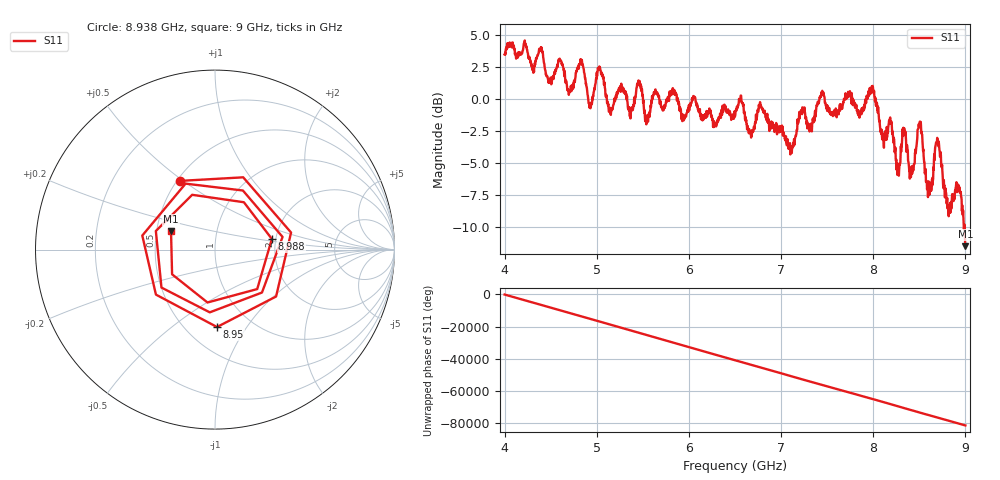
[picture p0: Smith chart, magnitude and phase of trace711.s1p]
! Created with skrf 1.8.0 (http://scikit-rf.org).
# Hz S RI R 50.0
!freq ReS11 ImS11
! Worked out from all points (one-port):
!   1601 points, 4 GHz to 9 GHz, reference 50 ohm
!   lowest |S11| = -11.5 dB at 9 GHz (marker M1), VSWR 1.72, Z = 29.8 + j6.49 ohm
!   |S11| at or under -10 dB: 8.982991 GHz to 8.986176 GHz (3.186 MHz wide, 0.0355 % of centre); 8.991689 GHz to end of sweep
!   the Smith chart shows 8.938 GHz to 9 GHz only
!   S11 on the Smith chart (normalised r, x): 8.938 GHz: 0.52, +0.48; 8.95 GHz: 0.70, -0.74; 8.988 GHz: 1.91, +0.25; 9 GHz: 0.60, +0.13
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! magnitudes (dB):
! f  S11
! 4 GHz  3.4
! 4.625 GHz  2.6
! 4.706 GHz  0.5
! 4.838 GHz  3.0
! 4.931 GHz  -0.8
! 5.025 GHz  2.3
! 5.147 GHz  -1.2
! 5.25 GHz  0.7
! 5.466 GHz  1.4
! 5.547 GHz  -1.3
! 5.875 GHz  0.0
! 6.5 GHz  -1.4
! 7.125 GHz  -3.7
! 7.228 GHz  -1.2
! 7.75 GHz  0.3
! 7.988 GHz  0.9
! 8.269 GHz  -5.7
! 8.331 GHz  -2.3
! 8.375 GHz  -4.0
! 8.422 GHz  -5.9
! 8.506 GHz  -1.8
! 8.609 GHz  -7.5
! 8.697 GHz  -3.2
! 8.812 GHz  -8.4
! 8.938 GHz  -7.3
! 8.95 GHz  -7.3
! 8.988 GHz  -9.8
! 9 GHz  -11.5
